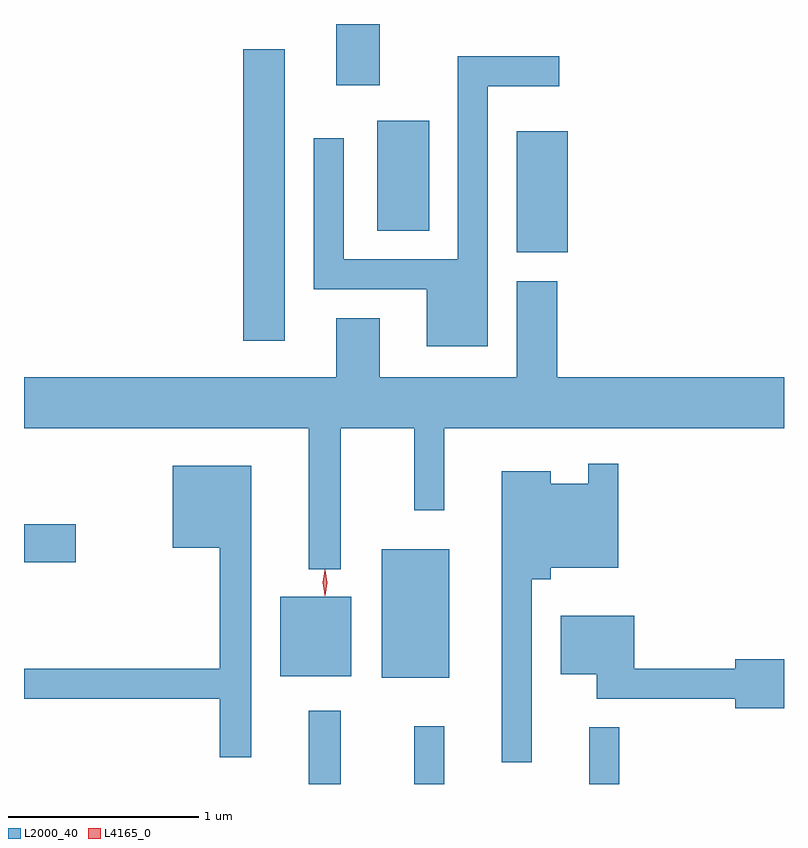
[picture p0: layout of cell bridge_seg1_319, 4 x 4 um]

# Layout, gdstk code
import gdstk
lib = gdstk.Library(unit=1e-6, precision=1e-09)
def R(c, l, rs):  # rectangles x0, y0, x1, y1
    for r in rs: c.add(gdstk.rectangle(r[:2], r[2:], *l))
def P(c, l, *ps):  # polygons
    for p in ps: c.add(gdstk.Polygon(p, *l))
L2000_40 = (2000, 40)
L4165_0 = (4165, 0)

bridge_seg1_319 = lib.new_cell('bridge_seg1_319')
R(bridge_seg1_319, L2000_40, [(900.141,886.603,900.309,886.988), (900.696,886.603,900.854,886.908), (901.616,886.603,901.774,886.903), (900.526,887.161,900.879,887.839), (899.991,887.171,900.364,887.589), (898.642,887.771,898.914,887.969), (899.796,888.936,900.014,890.469), (901.236,889.401,901.504,890.039), (900.501,889.516,900.774,890.094), (900.286,890.281,900.514,890.603)])
P(bridge_seg1_319, L2000_40, [(901.084,890.276),(901.458,890.276),(901.458,890.434),(900.926,890.434),(900.926,889.364),(900.324,889.364),(900.324,890.003),(900.166,890.003),(900.166,889.206),(900.761,889.206),(900.761,888.906),(901.084,888.906)],
  [(900.286,888.744),(898.642,888.744),(898.642,888.476),(900.141,888.476),(900.141,887.733),(900.309,887.733),(900.309,888.476),(900.696,888.476),(900.696,888.043),(900.854,888.043),(900.854,888.476),(902.642,888.476),(902.642,888.744),(901.449,888.744),(901.449,889.249),(901.236,889.249),(901.236,888.744),(900.514,888.744),(900.514,889.054),(900.286,889.054)],
  [(901.314,887.681),(901.414,887.681),(901.414,887.741),(901.769,887.741),(901.769,888.288),(901.611,888.288),(901.611,888.184),(901.414,888.184),(901.414,888.249),(901.156,888.249),(901.156,886.718),(901.314,886.718)],
  [(899.839,888.279),(899.426,888.279),(899.426,887.846),(899.671,887.846),(899.671,887.209),(898.642,887.209),(898.642,887.051),(899.671,887.051),(899.671,886.743),(899.839,886.743)],
  [(902.642,887.259),(902.386,887.259),(902.386,887.209),(901.854,887.209),(901.854,887.489),(901.466,887.489),(901.466,887.181),(901.656,887.181),(901.656,887.051),(902.386,887.051),(902.386,887.001),(902.642,887.001)])
P(bridge_seg1_319, L4165_0, [(900.226,887.594),(900.217,887.662),(900.226,887.73),(900.227,887.73),(900.227,887.73),(900.237,887.662),(900.227,887.594),(900.227,887.594)],
  [(900.224,887.598),(900.224,887.598),(900.214,887.663),(900.224,887.727),(900.224,887.727),(900.224,887.727),(900.234,887.663),(900.224,887.598)])

lib.write_gds('bridge_seg1_319.gds')
